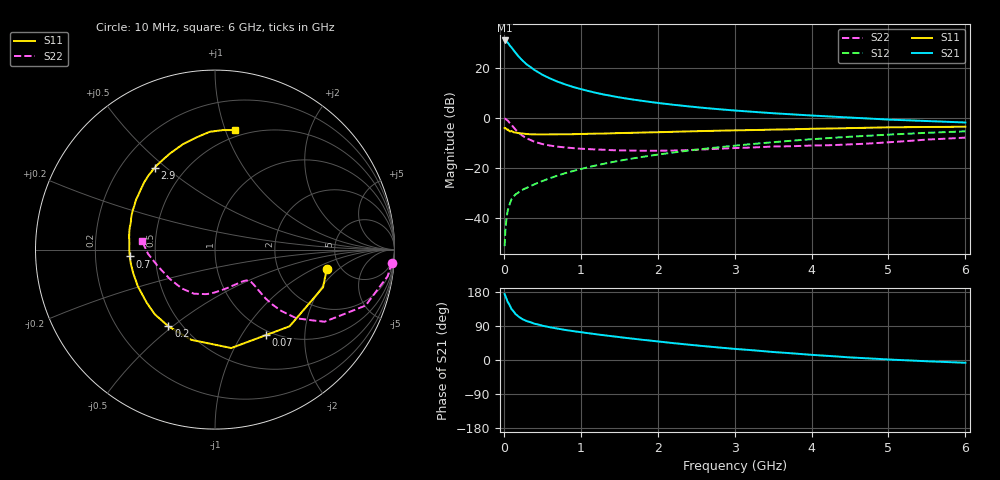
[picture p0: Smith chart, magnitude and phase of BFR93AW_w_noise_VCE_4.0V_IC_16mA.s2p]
! Infineon Technologies  Discrete & RF Semiconductors
! BFR93AW
! VCE =  4.0 V,  IC =  16 mA
! Common Emitter S-Parameters:  Jan 2017
# GHz  S  MA  R  50
!  f  S11  S21  S12  S22
! GHz  MAG  ANG  MAG  ANG  MAG  ANG  MAG  ANG
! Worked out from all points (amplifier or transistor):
!   77 points, 10 MHz to 6 GHz, reference 50 ohm
!   highest |S21| = 31.0 dB at 10 MHz (marker M1)
!   |S21| within 3 dB of that: start of sweep to 105.2 MHz
!   unconditionally stable (mu >= 1): 702.8 MHz to 2.103 GHz
!   at 130 MHz: K = 0.40, MSG = 29.1 dB, |S12| = -31.2 dB
!   at 2.2 GHz: K = 0.99, MSG = 9.5 dB, |S12| = -13.7 dB
!   at 6 GHz: K = 0.88, MSG = 1.8 dB, |S12| = -5.3 dB
!   lowest NFmin = 1.41 dB at 450 MHz
!   S11 on the Smith chart (normalised r, x): 10 MHz: 3.90, -1.40; 70 MHz: 0.94, -1.29; 200 MHz: 0.42, -0.48; 700 MHz: 0.35, -0.04; 2.9 GHz: 0.34, +0.46; 6 GHz: 0.44, +1.08
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0.01  0.6319 -9.8  35.42 174.1  0.0028 82.9  0.9872 -4.3
0.02  0.6375 -19.2  35.23 168.8  0.0057 84.9  0.9731 -8.8
0.05  0.5961 -45.8  32.16 153.3  0.0143 70.4  0.8949 -20.4
0.07  0.555 -59.0  29.2 146.7  0.0182 65.7  0.8241 -25.0
0.1  0.5559 -80.6  25.68 134.2  0.0242 61.5  0.7301 -33.4
0.15  0.5198 -104.7  20.32 121.6  0.03 55.6  0.5952 -40.1
0.2  0.5002 -121.3  16.45 113.2  0.0338 54.6  0.5024 -42.8
0.25  0.4923 -133.0  13.74 106.9  0.0377 55.0  0.4389 -43.8
0.3  0.482 -142.0  11.72 102.5  0.041 55.5  0.3931 -44.0
0.4  0.4762 -154.3  9.064 95.6  0.0481 58.9  0.3372 -43.2
0.5  0.474 -163.3  7.347 90.6  0.0557 60.6  0.3045 -42.4
0.6  0.4754 -170.0  6.19 86.4  0.0635 62.5  0.2839 -42.0
0.7  0.4766 -175.4  5.335 82.8  0.0717 64.1  0.2701 -41.9
0.9  0.4788 175.6  4.186 76.2  0.0882 65.7  0.2526 -43.2
1.1  0.4876 168.5  3.47 70.7  0.1055 66.5  0.2416 -45.9
1.5  0.5036 157.0  2.598 60.5  0.1412 66.5  0.2279 -54.4
2.1  0.5288 142.4  1.931 46.9  0.1967 63.4  0.2248 -72.9
2.9  0.5664 126.3  1.462 31.2  0.273 57.4  0.2495 -98.8
3.1  0.5741 122.5  1.385 27.8  0.2922 55.5  0.2559 -104.6
4.1  0.6169 105.4  1.108 12.3  0.389 45.5  0.2856 -133.8
5.1  0.6584 91.3  0.924 0.4  0.4772 34.2  0.3377 -166.3
6  0.6749 80.7  0.819 -7.3  0.5457 23.8  0.4091 173.3
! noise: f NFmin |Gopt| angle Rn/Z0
0.45  1.41  0.12  146  0.13
0.9  1.69  0.23  168  0.14
1.9  2.69  0.47  -141  0.21
2.4  3.31  0.54  -127  0.41
